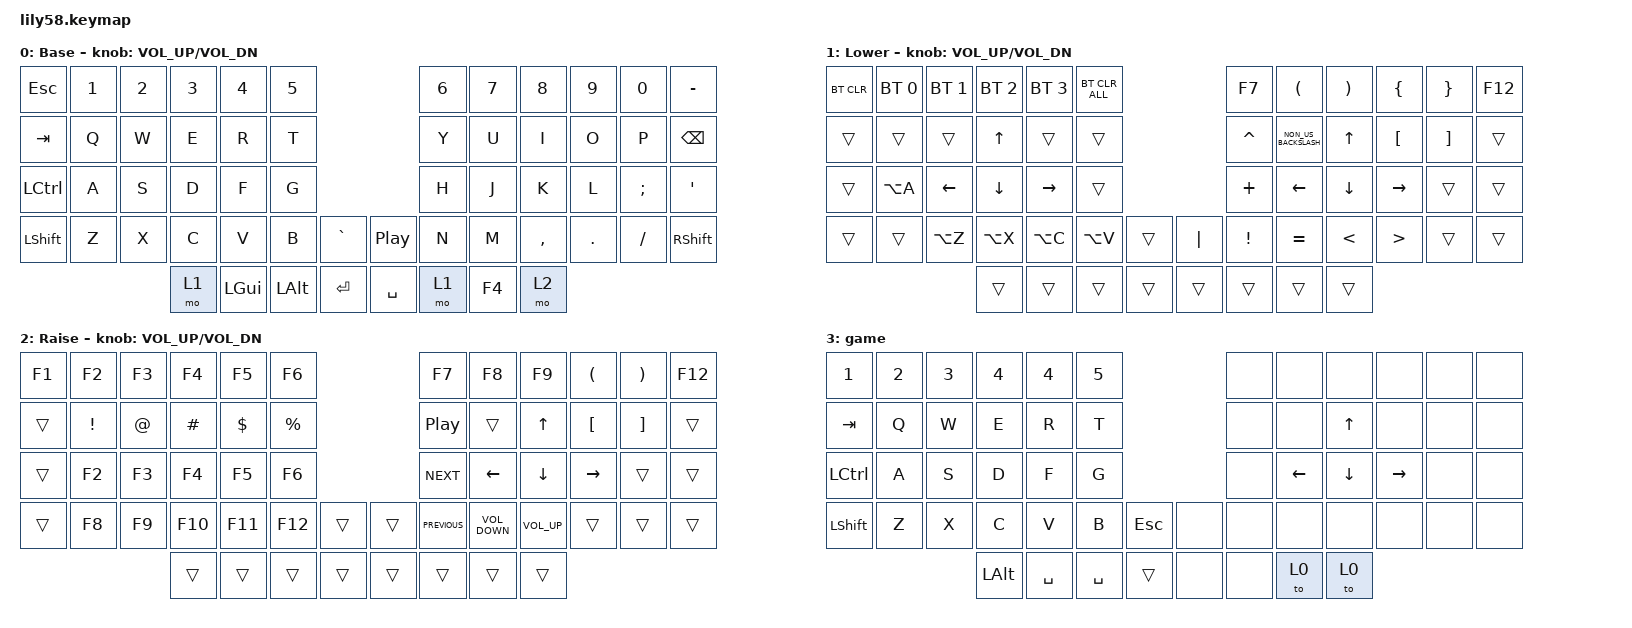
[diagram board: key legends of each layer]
/*
 * Copyright (c) 2020 The ZMK Contributors
 *
 * SPDX-License-Identifier: MIT
 */

#include <behaviors.dtsi>
#include <dt-bindings/zmk/bt.h>
#include <dt-bindings/zmk/keys.h>

/ {
    macros {
        copy: copy {
            compatible = "zmk,behavior-macro";
            #binding-cells = <0>;
            bindings =
                <&macro_press>,
                <&kp LEFT_ALT>,
                <&macro_tap>,
                <&kp C>,
                <&macro_release>,
                <&kp LEFT_ALT>;

            label = "COPY";
        };

        paste: paste {
            compatible = "zmk,behavior-macro";
            #binding-cells = <0>;
            bindings =
                <&macro_press>,
                <&kp LEFT_ALT>,
                <&macro_tap>,
                <&kp C>,
                <&macro_release>,
                <&kp LEFT_ALT>;

            label = "PASTE";
        };

        cut: cut {
            compatible = "zmk,behavior-macro";
            #binding-cells = <0>;
            bindings =
                <&macro_press>,
                <&kp LEFT_ALT>,
                <&macro_tap>,
                <&kp C>,
                <&macro_release>,
                <&kp LEFT_ALT>;

            label = "CUT";
        };

        undo: undo {
            compatible = "zmk,behavior-macro";
            #binding-cells = <0>;
            bindings =
                <&macro_press>,
                <&kp LEFT_ALT>,
                <&macro_tap>,
                <&kp C>,
                <&macro_release>,
                <&kp LEFT_ALT>;

            label = "UNDO";
        };
    };

    keymap {
        compatible = "zmk,keymap";

        default_layer {
            // ------------------------------------------------------------------------------------------------------------
            // |  ESC  |  1  |  2  |  3   |  4   |  5   |                   |  6   |  7    |  8    |  9   |   0   |   `   |
            // |  TAB  |  Q  |  W  |  E   |  R   |  T   |                   |  Y   |  U    |  I    |  O   |   P   |   -   |
            // |  CTRL |  A  |  S  |  D   |  F   |  G   |                   |  H   |  J    |  K    |  L   |   ;   |   '   |
            // | SHIFT |  Z  |  X  |  C   |  V   |  B   |   "["  |  |  "]"  |  N   |  M    |  ,    |  .   |   /   | SHIFT |
            //                     | ALT  | GUI  | LOWER|  SPACE |  | ENTER | RAISE| BSPC  | GUI   |

            display-name = "Base";
            bindings = <
&kp ESC    &kp N1  &kp N2  &kp N3  &kp N4    &kp N5                                   &kp N6  &kp N7  &kp N8     &kp N9   &kp N0    &kp MINUS
&kp TAB    &kp Q   &kp W   &kp E   &kp R     &kp T                                    &kp Y   &kp U   &kp I      &kp O    &kp P     &kp BACKSPACE
&kp LCTRL  &kp A   &kp S   &kp D   &kp F     &kp G                                    &kp H   &kp J   &kp K      &kp L    &kp SEMI  &kp SQT
&kp LSHFT  &kp Z   &kp X   &kp C   &kp V     &kp B     &kp GRAVE    &kp C_PLAY_PAUSE  &kp N   &kp M   &kp COMMA  &kp DOT  &kp FSLH  &kp RSHFT
                           &mo 1   &kp LGUI  &kp LALT  &kp ENTER    &kp SPACE         &mo 1   &kp F4  &mo 2
            >;

            sensor-bindings = <&inc_dec_kp C_VOL_UP C_VOL_DN>;
        };

        lower_layer {
            // ------------------------------------------------------------------------------------------------------------
            // | BTCLR | BT1 | BT2 |  BT3 |  BT4 |  BT5 |                   |      |       |       |      |       |       |
            // |  F1   |  F2 |  F3 |  F4  |  F5  |  F6  |                   |  F7  |  F8   |  F9   |  F10 |  F11  |  F12  |
            // |   `   |  !  |  @  |  #   |  $   |  %   |                   |  ^   |  &    |  *    |  (   |   )   |   ~   |
            // |       |     |     |      |      |      |        |  |       |      |  _    |  +    |  {   |   }   |  "|"  |
            //                     |      |      |      |        |  |       |      |       |       |

            display-name = "Lower";
            bindings = <
&bt BT_CLR  &bt BT_SEL 0  &bt BT_SEL 1  &bt BT_SEL 2  &bt BT_SEL 3  &bt BT_CLR_ALL                      &kp F7     &kp LEFT_PARENTHESIS  &kp RIGHT_PARENTHESIS  &kp LEFT_BRACE    &kp RIGHT_BRACE    &kp F12
&trans      &trans        &trans        &kp UP_ARROW  &trans        &trans                              &kp CARET  &kp NON_US_BACKSLASH  &kp UP_ARROW           &kp LEFT_BRACKET  &kp RIGHT_BRACKET  &trans
&trans      &kp LA(A)     &kp LEFT      &kp DOWN      &kp RIGHT     &trans                              &kp PLUS   &kp LEFT              &kp DOWN               &kp RIGHT         &trans             &trans
&trans      &trans        &kp LA(Z)     &kp LA(X)     &kp LA(C)     &kp LA(V)       &trans    &kp PIPE  &kp EXCL   &kp EQUAL             &kp LESS_THAN          &kp GREATER_THAN  &trans             &trans
                                        &trans        &trans        &trans          &trans    &trans    &trans     &trans                &trans
            >;

            sensor-bindings = <&inc_dec_kp C_VOL_UP C_VOL_DN>;
        };

        raise_layer {
            // ------------------------------------------------------------------------------------------------------------
            // |       |     |     |      |      |      |                   |      |       |       |      |       |       |
            // |   `   |  1  |  2  |  3   |  4   |  5   |                   |  6   |   7   |   8   |  9   |   0   |       |
            // |   F1  |  F2 |  F3 |  F4  |  F5  |  F6  |                   |      |   <-  |   v   |  ^   |  ->   |       |
            // |   F7  |  F8 |  F9 |  F10 |  F11 |  F12 |        |  |       |  +   |   -   |   =   |  [   |   ]   |   \   |
            //                     |      |      |      |        |  |       |      |       |       |

            display-name = "Raise";
            bindings = <
&kp F1  &kp F2    &kp F3       &kp F4    &kp F5      &kp F6                         &kp F7            &kp F8             &kp F9           &kp LEFT_PARENTHESIS  &kp RIGHT_PARENTHESIS  &kp F12
&trans  &kp EXCL  &kp AT_SIGN  &kp HASH  &kp DOLLAR  &kp PERCENT                    &kp C_PLAY_PAUSE  &trans             &kp UP_ARROW     &kp LEFT_BRACKET      &kp RIGHT_BRACKET      &trans
&trans  &kp F2    &kp F3       &kp F4    &kp F5      &kp F6                         &kp C_NEXT        &kp LEFT           &kp DOWN_ARROW   &kp RIGHT             &trans                 &trans
&trans  &kp F8    &kp F9       &kp F10   &kp F11     &kp F12      &trans    &trans  &kp C_PREVIOUS    &kp C_VOLUME_DOWN  &kp C_VOLUME_UP  &trans                &trans                 &trans
                               &trans    &trans      &trans       &trans    &trans  &trans            &trans             &trans
            >;

            sensor-bindings = <&inc_dec_kp C_VOL_UP C_VOL_DN>;
        };

        game {
            bindings = <
&kp NUMBER_1      &kp NUMBER_2  &kp NUMBER_3  &kp NUMBER_4  &kp N4     &kp N5                          &none  &none     &none         &none      &none  &none
&kp TAB           &kp Q         &kp W         &kp E         &kp R      &kp T                           &none  &none     &kp UP_ARROW  &none      &none  &none
&kp LEFT_CONTROL  &kp A         &kp S         &kp D         &kp F      &kp G                           &none  &kp LEFT  &kp DOWN      &kp RIGHT  &none  &none
&kp LSHFT         &kp Z         &kp X         &kp C         &kp V      &kp B      &kp ESCAPE    &none  &none  &none     &none         &none      &none  &none
                                              &kp LEFT_ALT  &kp SPACE  &kp SPACE  &trans        &none  &none  &to 0     &to 0
            >;
        };
    };
};
